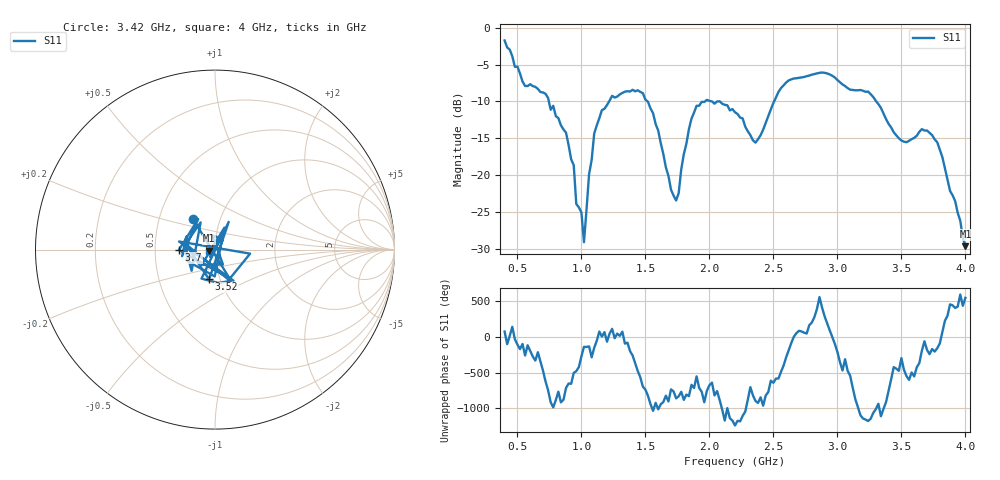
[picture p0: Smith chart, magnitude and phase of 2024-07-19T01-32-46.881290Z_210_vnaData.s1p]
!Created with skrf (http://scikit-rf.org).
# Hz S RI R 50.0
!freq ReS11 ImS11
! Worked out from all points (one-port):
!   181 points, 400 MHz to 4 GHz, reference 50 ohm
!   lowest |S11| = -29.6 dB at 4 GHz (marker M1), VSWR 1.07, Z = 46.8 - j0.599 ohm
!   |S11| at or under -10 dB: 745.8 MHz to 1.217 GHz (470.9 MHz wide, 48 % of centre); 1.517 GHz to 1.965 GHz (448.6 MHz wide, 25.8 % of centre); 3.304 GHz to end of sweep (the widest 3 of 5)
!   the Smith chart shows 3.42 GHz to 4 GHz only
!   S11 on the Smith chart (normalised r, x): 3.42 GHz: 0.74, +0.27; 3.52 GHz: 0.89, -0.30; 3.7 GHz: 0.67, -0.00; 4 GHz: 0.94, -0.01
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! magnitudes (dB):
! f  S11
! 400 MHz  -1.7
! 560 MHz  -7.9
! 720 MHz  -9.0
! 860 MHz  -13.8
! 940 MHz  -18.6
! 960 MHz  -23.9
! 1 GHz  -25.0
! 1.02 GHz  -29.0
! 1.06 GHz  -19.8
! 1.1 GHz  -14.3
! 1.3 GHz  -9.1
! 1.48 GHz  -8.9
! 1.6 GHz  -13.9
! 1.7 GHz  -21.9
! 1.76 GHz  -22.4
! 1.84 GHz  -13.7
! 1.9 GHz  -10.6
! 2.2 GHz  -11.5
! 2.36 GHz  -15.6
! 2.66 GHz  -6.9
! 3.1 GHz  -8.4
! 3.24 GHz  -8.7
! 3.42 GHz  -13.5
! 3.52 GHz  -15.4
! 3.56 GHz  -15.3
! 3.7 GHz  -13.9
! 3.82 GHz  -17.5
! 4 GHz  -29.6
